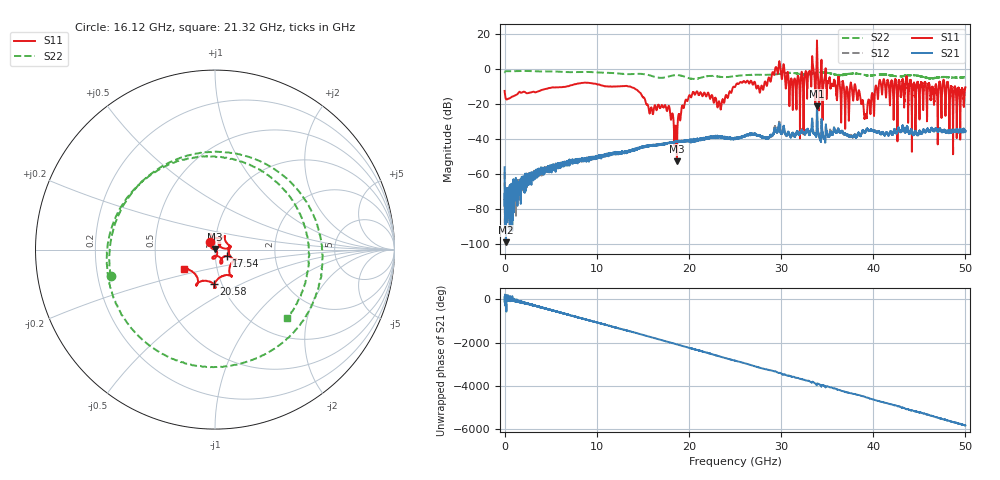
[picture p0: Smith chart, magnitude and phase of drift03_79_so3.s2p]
!Created with skrf (http://scikit-rf.org).
# Hz S RI R 50.0
!freq ReS11 ImS11 ReS21 ImS21 ReS12 ImS12 ReS22 ImS22
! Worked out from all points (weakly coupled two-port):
!   10001 points, 300 kHz to 50 GHz, reference 50 ohm
!   highest |S21| = -21.42 dB at 33.9 GHz (marker M1); lowest = -99.2 dB at 155.3 MHz (marker M2)
!   lowest |S11| = -52.9 dB at 18.7 GHz (marker M3), VSWR 1.00, Z = 50 + j0.225 ohm
!   |S11| at or under -10 dB: start of sweep to 6.942 GHz; 13.32 GHz to 25.05 GHz (11.73 GHz wide, 61.1 % of centre); 38.07 GHz to 40.25 GHz (2.182 GHz wide, 5.57 % of centre) (the widest 3 of 60)
!   |S22| runs from -5.9 to -1.3 dB; largest |S21 - S12| = 0.0086
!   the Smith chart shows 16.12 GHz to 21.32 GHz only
!   S11 on the Smith chart (normalised r, x): 16.12 GHz: 0.94, +0.08; 17.54 GHz: 1.13, -0.08; 20.58 GHz: 0.92, -0.37; 21.32 GHz: 0.69, -0.16
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300000  -0.2087 -0.0998  -0.00056 0.00143  0.000515 0.00101  -0.7681 -0.1904
1.552991e8  -0.1196 0.0611  1.01e-05 4.28e-06  0.000164 6.21e-05  -0.8071 0.2505
1.535291e9  0.2048 0.0437  -0.000168 -0.00056  -0.000244 -0.000399  0.8487 0.0785
3.160281e9  -0.2189 -0.00856  5.53e-05 0.000804  0.000233 0.000899  -0.8444 -0.0259
4.665272e9  0.2634 0.0616  -7.03e-05 -0.00148  -4.92e-05 -0.00129  0.8187 0.1431
6.360262e9  -0.3 0.000194  0.000451 0.00188  0.00057 0.00172  -0.8041 -0.0452
8.33525e9  0.2839 -0.267  -0.00249 -0.00109  -0.00226 -0.000843  0.6041 -0.5342
9.575243e9  -0.3717 -0.0486  0.00141 0.00247  0.00144 0.00243  -0.7861 -0.0978
1.124523e10  0.3061 0.0238  -0.00226 -0.00267  -0.00236 -0.00267  0.7572 0.0221
1.61202e10  -0.0305 0.0423  0.00634 0.00194  0.00611 0.00193  -0.5811 -0.1492
1.66702e10  0.0535 0.0756  0.00483 -0.00518  0.00479 -0.00489  -0.3643 0.4155
1.753519e10  0.0643 -0.0354  -0.00609 -0.00395  -0.00608 -0.00384  0.4963 0.2848
1.869519e10  0.000175 0.00225  0.0026 0.0078  0.00249 0.00806  -0.088 -0.6489
2.058018e10  -0.00732 -0.1925  -0.00761 -0.00431  -0.00764 -0.00432  0.3745 0.3437
2.131517e10  -0.1713 -0.1082  -0.00508 0.00851  -0.0054 0.00814  0.4019 -0.3794
2.500015e10  -0.2973 -0.0497  0.00736 0.00621  0.00794 0.00656  -0.1802 -0.5849
3.052012e10  0.23 -0.1448  -0.002 0.0126  -0.00199 0.0127  0.7449 -0.0664
3.214011e10  0.1988 0.4277  -0.000698 -0.015  -0.0011 -0.0155  -0.704 0.0113
3.33351e10  0.4877 -0.9923  -0.00608 0.0248  -0.0067 0.0251  0.6126 0.3704
3.38951e10  -0.5894 -6.336  0.0841 0.0116  0.0818 0.00881  0.6877 -0.3149
4.167005e10  -0.2253 0.2811  -0.0118 -0.00425  -0.0117 -0.00501  -0.651 -0.059
5e10  -0.1399 -0.2564  0.00143 -0.0158  0.00189 -0.0167  0.4737 -0.3125
